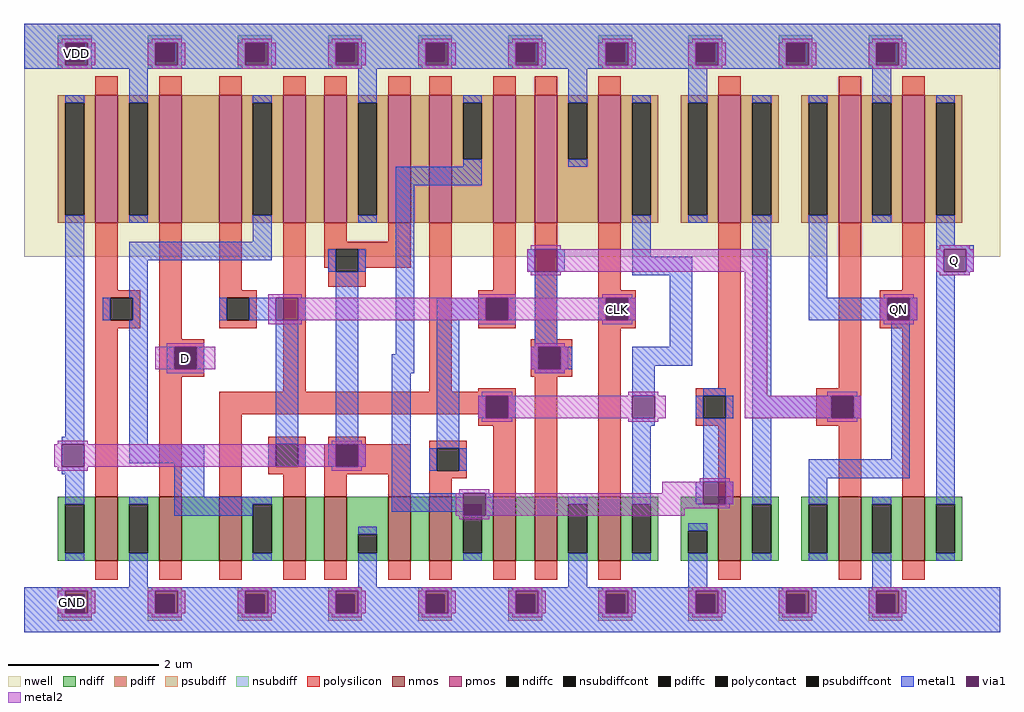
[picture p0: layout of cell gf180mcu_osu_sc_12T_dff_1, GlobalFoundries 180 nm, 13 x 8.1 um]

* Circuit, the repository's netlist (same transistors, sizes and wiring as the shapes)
.inc "../../char/techfiles/design.hspice"
.lib "../../char/techfiles/sm141064.hspice" typical

.GLOBAL VDD
.GLOBAL GND

.option scale=0.05u

.subckt gf180mcu_osu_sc_12T_dff_1 D Q QN CLK
X0 a_19_11 CLK a_42_106 VDD pmos_3p3 w=34 l=6
X1 a_75_106 a_52_11 a_19_11 VDD pmos_3p3 w=34 l=6
X2 a_135_65 a_114_16 VDD VDD pmos_3p3 w=34 l=6
X3 Q QN GND GND nmos_3p3 w=17 l=6
X4 a_131_16 a_52_11 a_114_16 GND nmos_3p3 w=17 l=6
X5 a_42_106 D VDD VDD pmos_3p3 w=34 l=6
X6 a_135_65 a_114_16 GND GND nmos_3p3 w=17 l=6
X7 VDD a_19_11 a_9_16 VDD pmos_3p3 w=34 l=6
X8 a_75_16 CLK a_19_11 GND nmos_3p3 w=17 l=6
X9 GND a_135_65 a_131_16 GND nmos_3p3 w=17 l=6
X10 a_19_11 a_52_11 a_42_16 GND nmos_3p3 w=17 l=6
X11 GND a_19_11 a_9_16 GND nmos_3p3 w=17 l=6
X12 a_52_11 CLK VDD VDD pmos_3p3 w=34 l=6
X13 VDD a_135_65 a_131_106 VDD pmos_3p3 w=34 l=6
X14 a_131_106 CLK a_114_16 VDD pmos_3p3 w=34 l=6
X15 GND a_135_65 QN GND nmos_3p3 w=17 l=6
X16 a_114_16 a_52_11 a_103_106 VDD pmos_3p3 w=34 l=6
X17 a_114_16 CLK a_103_16 GND nmos_3p3 w=17 l=6
X18 a_52_11 CLK GND GND nmos_3p3 w=17 l=6
X19 a_42_16 D GND GND nmos_3p3 w=17 l=6
X20 VDD a_9_16 a_75_106 VDD pmos_3p3 w=34 l=6
X21 a_103_106 a_9_16 VDD VDD pmos_3p3 w=34 l=6
X22 a_103_16 a_9_16 GND GND nmos_3p3 w=17 l=6
X23 Q QN VDD VDD pmos_3p3 w=34 l=6
X24 VDD a_135_65 QN VDD pmos_3p3 w=34 l=6
X25 GND a_9_16 a_75_16 GND nmos_3p3 w=17 l=6
.ends

** hspice subcircuit dictionary

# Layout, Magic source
magic
tech gf180mcuC
<< nwell >>
rect 0 97 260 159
<< nmos >>
rect 19 16 25 33
rect 36 16 42 33
rect 52 16 58 33
rect 69 16 75 33
rect 80 16 86 33
rect 97 16 103 33
rect 108 16 114 33
rect 125 16 131 33
rect 136 16 142 33
rect 153 16 159 33
rect 185 16 191 33
rect 217 16 223 33
rect 234 16 240 33
<< pmos >>
rect 19 106 25 140
rect 36 106 42 140
rect 52 106 58 140
rect 69 106 75 140
rect 80 106 86 140
rect 97 106 103 140
rect 108 106 114 140
rect 125 106 131 140
rect 136 106 142 140
rect 153 106 159 140
rect 185 106 191 140
rect 217 106 223 140
rect 234 106 240 140
<< ndiff >>
rect 9 31 19 33
rect 9 18 11 31
rect 16 18 19 31
rect 9 16 19 18
rect 25 31 36 33
rect 25 18 28 31
rect 33 18 36 31
rect 25 16 36 18
rect 42 16 52 33
rect 58 31 69 33
rect 58 18 61 31
rect 66 18 69 31
rect 58 16 69 18
rect 75 16 80 33
rect 86 23 97 33
rect 86 18 89 23
rect 94 18 97 23
rect 86 16 97 18
rect 103 16 108 33
rect 114 31 125 33
rect 114 18 117 31
rect 122 18 125 31
rect 114 16 125 18
rect 131 16 136 33
rect 142 31 153 33
rect 142 18 145 31
rect 150 18 153 31
rect 142 16 153 18
rect 159 31 169 33
rect 159 18 162 31
rect 167 18 169 31
rect 159 16 169 18
rect 175 24 185 33
rect 175 18 177 24
rect 182 18 185 24
rect 175 16 185 18
rect 191 31 201 33
rect 191 18 194 31
rect 199 18 201 31
rect 191 16 201 18
rect 207 31 217 33
rect 207 18 209 31
rect 214 18 217 31
rect 207 16 217 18
rect 223 31 234 33
rect 223 18 226 31
rect 231 18 234 31
rect 223 16 234 18
rect 240 31 250 33
rect 240 18 243 31
rect 248 18 250 31
rect 240 16 250 18
<< pdiff >>
rect 9 138 19 140
rect 9 108 11 138
rect 16 108 19 138
rect 9 106 19 108
rect 25 138 36 140
rect 25 108 28 138
rect 33 108 36 138
rect 25 106 36 108
rect 42 106 52 140
rect 58 138 69 140
rect 58 108 61 138
rect 66 108 69 138
rect 58 106 69 108
rect 75 106 80 140
rect 86 138 97 140
rect 86 108 89 138
rect 94 108 97 138
rect 86 106 97 108
rect 103 106 108 140
rect 114 138 125 140
rect 114 123 117 138
rect 122 123 125 138
rect 114 106 125 123
rect 131 106 136 140
rect 142 138 153 140
rect 142 123 145 138
rect 150 123 153 138
rect 142 106 153 123
rect 159 138 169 140
rect 159 108 162 138
rect 167 108 169 138
rect 159 106 169 108
rect 175 138 185 140
rect 175 108 177 138
rect 182 108 185 138
rect 175 106 185 108
rect 191 138 201 140
rect 191 108 194 138
rect 199 108 201 138
rect 191 106 201 108
rect 207 138 217 140
rect 207 108 209 138
rect 214 108 217 138
rect 207 106 217 108
rect 223 138 234 140
rect 223 108 226 138
rect 231 108 234 138
rect 223 106 234 108
rect 240 138 250 140
rect 240 108 243 138
rect 248 108 250 138
rect 240 106 250 108
<< ndiffc >>
rect 11 18 16 31
rect 28 18 33 31
rect 61 18 66 31
rect 89 18 94 23
rect 117 18 122 31
rect 145 18 150 31
rect 162 18 167 31
rect 177 18 182 24
rect 194 18 199 31
rect 209 18 214 31
rect 226 18 231 31
rect 243 18 248 31
<< pdiffc >>
rect 11 108 16 138
rect 28 108 33 138
rect 61 108 66 138
rect 89 108 94 138
rect 117 123 122 138
rect 145 123 150 138
rect 162 108 167 138
rect 177 108 182 138
rect 194 108 199 138
rect 209 108 214 138
rect 226 108 231 138
rect 243 108 248 138
<< psubdiff >>
rect 9 7 18 9
rect 9 2 11 7
rect 16 2 18 7
rect 9 0 18 2
rect 33 7 42 9
rect 33 2 35 7
rect 40 2 42 7
rect 33 0 42 2
rect 57 7 66 9
rect 57 2 59 7
rect 64 2 66 7
rect 57 0 66 2
rect 81 7 90 9
rect 81 2 83 7
rect 88 2 90 7
rect 81 0 90 2
rect 105 7 114 9
rect 105 2 107 7
rect 112 2 114 7
rect 105 0 114 2
rect 129 7 138 9
rect 129 2 131 7
rect 136 2 138 7
rect 129 0 138 2
rect 153 7 162 9
rect 153 2 155 7
rect 160 2 162 7
rect 153 0 162 2
rect 177 7 186 9
rect 177 2 179 7
rect 184 2 186 7
rect 177 0 186 2
rect 201 7 210 9
rect 201 2 203 7
rect 208 2 210 7
rect 201 0 210 2
rect 225 7 234 9
rect 225 2 227 7
rect 232 2 234 7
rect 225 0 234 2
<< nsubdiff >>
rect 9 154 18 156
rect 9 149 11 154
rect 16 149 18 154
rect 9 147 18 149
rect 33 154 42 156
rect 33 149 35 154
rect 40 149 42 154
rect 33 147 42 149
rect 57 154 66 156
rect 57 149 59 154
rect 64 149 66 154
rect 57 147 66 149
rect 81 154 90 156
rect 81 149 83 154
rect 88 149 90 154
rect 81 147 90 149
rect 105 154 114 156
rect 105 149 107 154
rect 112 149 114 154
rect 105 147 114 149
rect 129 154 138 156
rect 129 149 131 154
rect 136 149 138 154
rect 129 147 138 149
rect 153 154 162 156
rect 153 149 155 154
rect 160 149 162 154
rect 153 147 162 149
rect 177 154 186 156
rect 177 149 179 154
rect 184 149 186 154
rect 177 147 186 149
rect 201 154 210 156
rect 201 149 203 154
rect 208 149 210 154
rect 201 147 210 149
rect 225 154 234 156
rect 225 149 227 154
rect 232 149 234 154
rect 225 147 234 149
<< psubdiffcont >>
rect 11 2 16 7
rect 35 2 40 7
rect 59 2 64 7
rect 83 2 88 7
rect 107 2 112 7
rect 131 2 136 7
rect 155 2 160 7
rect 179 2 184 7
rect 203 2 208 7
rect 227 2 232 7
<< nsubdiffcont >>
rect 11 149 16 154
rect 35 149 40 154
rect 59 149 64 154
rect 83 149 88 154
rect 107 149 112 154
rect 131 149 136 154
rect 155 149 160 154
rect 179 149 184 154
rect 203 149 208 154
rect 227 149 232 154
<< polysilicon >>
rect 19 140 25 145
rect 36 140 42 145
rect 52 140 58 145
rect 69 140 75 145
rect 80 140 86 145
rect 97 140 103 145
rect 108 140 114 145
rect 125 140 131 145
rect 136 140 142 145
rect 153 140 159 145
rect 185 140 191 145
rect 217 140 223 145
rect 234 140 240 145
rect 19 88 25 106
rect 19 86 31 88
rect 19 80 23 86
rect 29 80 31 86
rect 19 78 31 80
rect 19 33 25 78
rect 36 75 42 106
rect 52 88 58 106
rect 52 86 62 88
rect 52 80 54 86
rect 60 80 62 86
rect 52 78 62 80
rect 36 73 48 75
rect 36 67 40 73
rect 46 67 48 73
rect 36 65 48 67
rect 36 33 42 65
rect 69 61 75 106
rect 80 101 86 106
rect 97 101 103 106
rect 80 99 103 101
rect 80 94 83 99
rect 81 93 83 94
rect 89 94 103 99
rect 89 93 91 94
rect 81 89 91 93
rect 108 61 114 106
rect 125 88 131 106
rect 121 86 131 88
rect 121 80 123 86
rect 129 80 131 86
rect 121 78 131 80
rect 136 75 142 106
rect 153 88 159 106
rect 153 86 163 88
rect 153 80 155 86
rect 161 80 163 86
rect 153 78 163 80
rect 135 73 146 75
rect 135 67 137 73
rect 143 67 146 73
rect 135 65 146 67
rect 121 61 131 62
rect 52 60 131 61
rect 52 55 123 60
rect 52 33 58 55
rect 121 54 123 55
rect 129 54 131 60
rect 121 52 131 54
rect 65 47 75 49
rect 81 47 91 49
rect 65 41 67 47
rect 73 41 75 47
rect 65 39 75 41
rect 69 33 75 39
rect 80 41 83 47
rect 89 41 103 47
rect 80 39 103 41
rect 80 33 86 39
rect 97 33 103 39
rect 108 46 118 48
rect 108 40 110 46
rect 116 40 118 46
rect 108 38 118 40
rect 108 33 114 38
rect 125 33 131 52
rect 136 33 142 65
rect 153 33 159 78
rect 185 62 191 106
rect 217 62 223 106
rect 234 88 240 106
rect 228 86 240 88
rect 228 80 230 86
rect 236 80 240 86
rect 228 78 240 80
rect 179 60 191 62
rect 179 54 181 60
rect 187 54 191 60
rect 179 52 191 54
rect 211 60 223 62
rect 211 54 215 60
rect 221 54 223 60
rect 211 52 223 54
rect 185 33 191 52
rect 217 33 223 52
rect 234 33 240 78
rect 19 11 25 16
rect 36 11 42 16
rect 52 11 58 16
rect 69 11 75 16
rect 80 11 86 16
rect 97 11 103 16
rect 108 11 114 16
rect 125 11 131 16
rect 136 11 142 16
rect 153 11 159 16
rect 185 11 191 16
rect 217 11 223 16
rect 234 11 240 16
<< polycontact >>
rect 23 80 29 86
rect 54 80 60 86
rect 40 67 46 73
rect 83 93 89 99
rect 123 80 129 86
rect 155 80 161 86
rect 137 67 143 73
rect 123 54 129 60
rect 67 41 73 47
rect 83 41 89 47
rect 110 40 116 46
rect 230 80 236 86
rect 181 54 187 60
rect 215 54 221 60
<< metal1 >>
rect 0 154 260 159
rect 0 148 11 154
rect 17 148 35 154
rect 41 148 59 154
rect 65 148 83 154
rect 89 148 107 154
rect 113 148 131 154
rect 137 148 155 154
rect 161 148 179 154
rect 185 148 203 154
rect 209 148 227 154
rect 233 148 260 154
rect 0 147 260 148
rect 11 138 16 140
rect 11 49 16 108
rect 28 138 33 147
rect 28 106 33 108
rect 61 138 66 140
rect 61 101 66 108
rect 89 138 94 147
rect 117 138 122 140
rect 117 121 122 123
rect 145 138 150 147
rect 145 121 150 123
rect 162 138 167 140
rect 89 106 94 108
rect 99 116 122 121
rect 28 96 66 101
rect 28 86 33 96
rect 81 93 83 99
rect 89 93 91 99
rect 21 80 23 86
rect 29 80 33 86
rect 52 80 54 86
rect 60 80 67 86
rect 73 80 75 86
rect 10 47 16 49
rect 28 47 33 80
rect 38 67 40 73
rect 46 67 48 73
rect 67 47 73 80
rect 83 47 89 93
rect 99 71 104 116
rect 134 93 136 99
rect 142 93 144 99
rect 162 97 167 108
rect 177 138 182 147
rect 177 106 182 108
rect 194 138 199 140
rect 98 66 104 71
rect 110 80 123 86
rect 129 80 131 86
rect 28 42 48 47
rect 10 39 16 41
rect 11 31 16 39
rect 40 33 48 42
rect 65 41 67 47
rect 73 41 75 47
rect 81 41 83 47
rect 89 41 91 47
rect 98 34 103 66
rect 110 46 116 80
rect 136 73 142 93
rect 162 92 178 97
rect 153 80 155 86
rect 161 80 163 86
rect 172 73 178 92
rect 135 67 137 73
rect 143 67 146 73
rect 162 68 178 73
rect 136 66 144 67
rect 162 60 168 68
rect 181 60 187 62
rect 194 60 199 108
rect 209 138 214 140
rect 209 86 214 108
rect 226 138 231 147
rect 226 106 231 108
rect 243 138 248 140
rect 243 100 248 108
rect 243 99 253 100
rect 243 93 245 99
rect 251 93 253 99
rect 243 92 252 93
rect 209 80 230 86
rect 236 80 238 86
rect 121 54 123 60
rect 129 54 131 60
rect 179 54 181 60
rect 187 54 189 60
rect 194 54 215 60
rect 221 54 223 60
rect 162 52 168 54
rect 108 40 110 46
rect 116 40 118 46
rect 11 16 16 18
rect 28 31 33 33
rect 40 31 66 33
rect 40 28 61 31
rect 28 9 33 18
rect 98 29 117 34
rect 123 28 125 34
rect 145 31 150 33
rect 61 16 66 18
rect 89 23 94 25
rect 89 9 94 18
rect 117 16 122 18
rect 145 9 150 18
rect 162 31 167 52
rect 181 37 187 54
rect 179 31 181 37
rect 187 31 189 37
rect 194 31 199 54
rect 231 43 236 80
rect 162 16 167 18
rect 177 24 182 26
rect 177 9 182 18
rect 194 16 199 18
rect 209 38 236 43
rect 209 31 214 38
rect 209 16 214 18
rect 226 31 231 33
rect 226 9 231 18
rect 243 31 248 92
rect 243 16 248 18
rect 0 8 260 9
rect 0 2 11 8
rect 17 2 35 8
rect 41 2 59 8
rect 65 2 83 8
rect 89 2 107 8
rect 113 2 131 8
rect 137 2 155 8
rect 161 2 179 8
rect 185 2 203 8
rect 209 2 227 8
rect 233 2 260 8
rect 0 -3 260 2
<< via1 >>
rect 11 149 16 154
rect 16 149 17 154
rect 11 148 17 149
rect 35 149 40 154
rect 40 149 41 154
rect 35 148 41 149
rect 59 149 64 154
rect 64 149 65 154
rect 59 148 65 149
rect 83 149 88 154
rect 88 149 89 154
rect 83 148 89 149
rect 107 149 112 154
rect 112 149 113 154
rect 107 148 113 149
rect 131 149 136 154
rect 136 149 137 154
rect 131 148 137 149
rect 155 149 160 154
rect 160 149 161 154
rect 155 148 161 149
rect 179 149 184 154
rect 184 149 185 154
rect 179 148 185 149
rect 203 149 208 154
rect 208 149 209 154
rect 203 148 209 149
rect 227 149 232 154
rect 232 149 233 154
rect 227 148 233 149
rect 67 80 73 86
rect 10 41 16 47
rect 40 67 46 73
rect 136 93 142 99
rect 123 80 129 86
rect 83 41 89 47
rect 155 80 161 86
rect 137 67 143 73
rect 245 93 251 99
rect 230 80 236 86
rect 123 54 129 60
rect 162 54 168 60
rect 215 54 221 60
rect 117 31 123 34
rect 117 28 122 31
rect 122 28 123 31
rect 181 31 187 37
rect 11 7 17 8
rect 11 2 16 7
rect 16 2 17 7
rect 35 7 41 8
rect 35 2 40 7
rect 40 2 41 7
rect 59 7 65 8
rect 59 2 64 7
rect 64 2 65 7
rect 83 7 89 8
rect 83 2 88 7
rect 88 2 89 7
rect 107 7 113 8
rect 107 2 112 7
rect 112 2 113 7
rect 131 7 137 8
rect 131 2 136 7
rect 136 2 137 7
rect 155 7 161 8
rect 155 2 160 7
rect 160 2 161 7
rect 179 7 185 8
rect 179 2 184 7
rect 184 2 185 7
rect 203 7 209 8
rect 203 2 208 7
rect 208 2 209 7
rect 227 7 233 8
rect 227 2 232 7
rect 232 2 233 7
<< metal2 >>
rect 10 154 18 155
rect 34 154 42 155
rect 58 154 66 155
rect 82 154 90 155
rect 106 154 114 155
rect 130 154 138 155
rect 154 154 162 155
rect 178 154 186 155
rect 202 154 210 155
rect 226 154 234 155
rect 9 148 11 154
rect 17 148 19 154
rect 33 148 35 154
rect 41 148 43 154
rect 57 148 59 154
rect 65 148 67 154
rect 81 148 83 154
rect 89 148 91 154
rect 105 148 107 154
rect 113 148 115 154
rect 129 148 131 154
rect 137 148 139 154
rect 153 148 155 154
rect 161 148 163 154
rect 177 148 179 154
rect 185 148 187 154
rect 201 148 203 154
rect 209 148 211 154
rect 225 148 227 154
rect 233 148 235 154
rect 10 147 18 148
rect 34 147 42 148
rect 58 147 66 148
rect 82 147 90 148
rect 106 147 114 148
rect 130 147 138 148
rect 154 147 162 148
rect 178 147 186 148
rect 202 147 210 148
rect 226 147 234 148
rect 135 99 143 100
rect 244 99 252 100
rect 134 93 136 99
rect 142 93 198 99
rect 243 93 245 99
rect 251 93 253 99
rect 135 92 143 93
rect 65 86 74 87
rect 121 86 131 87
rect 154 86 162 87
rect 65 80 67 86
rect 73 80 123 86
rect 129 80 155 86
rect 161 80 163 86
rect 65 79 74 80
rect 121 79 131 80
rect 154 79 162 80
rect 38 73 48 74
rect 136 73 144 74
rect 35 67 40 73
rect 46 67 51 73
rect 135 67 137 73
rect 143 67 145 73
rect 38 66 48 67
rect 136 66 144 67
rect 122 60 130 61
rect 161 60 169 61
rect 192 60 198 93
rect 244 92 252 93
rect 229 86 237 87
rect 228 80 230 86
rect 236 80 238 86
rect 229 79 237 80
rect 214 60 222 61
rect 121 54 123 60
rect 129 54 162 60
rect 168 54 171 60
rect 192 54 215 60
rect 221 54 223 60
rect 122 53 130 54
rect 161 53 169 54
rect 214 53 222 54
rect 9 47 17 48
rect 82 47 90 48
rect 8 41 10 47
rect 16 41 83 47
rect 89 41 91 47
rect 9 40 17 41
rect 82 40 90 41
rect 180 37 188 38
rect 116 34 124 35
rect 170 34 181 37
rect 115 28 117 34
rect 123 31 181 34
rect 187 31 189 37
rect 123 30 188 31
rect 123 28 176 30
rect 116 27 124 28
rect 10 8 18 9
rect 34 8 42 9
rect 58 8 66 9
rect 82 8 90 9
rect 106 8 114 9
rect 130 8 138 9
rect 154 8 162 9
rect 178 8 186 9
rect 202 8 210 9
rect 226 8 234 9
rect 9 2 11 8
rect 17 2 19 8
rect 33 2 35 8
rect 41 2 43 8
rect 57 2 59 8
rect 65 2 67 8
rect 81 2 83 8
rect 89 2 91 8
rect 105 2 107 8
rect 113 2 115 8
rect 129 2 131 8
rect 137 2 139 8
rect 153 2 155 8
rect 161 2 163 8
rect 177 2 179 8
rect 185 2 187 8
rect 201 2 203 8
rect 209 2 211 8
rect 225 2 227 8
rect 233 2 235 8
rect 10 1 18 2
rect 34 1 42 2
rect 58 1 66 2
rect 82 1 90 2
rect 106 1 114 2
rect 130 1 138 2
rect 154 1 162 2
rect 178 1 186 2
rect 202 1 210 2
rect 226 1 234 2
<< labels >>
rlabel metal2 248 96 248 96 1 Q
port 4 n
rlabel metal2 43 70 43 70 1 D
port 1 n
rlabel metal2 13 5 13 5 1 GND
rlabel metal2 14 151 14 151 1 VDD
rlabel metal2 233 83 233 83 1 QN
port 5 n
rlabel metal2 158 83 158 83 1 CLK
port 6 n
<< end >>
